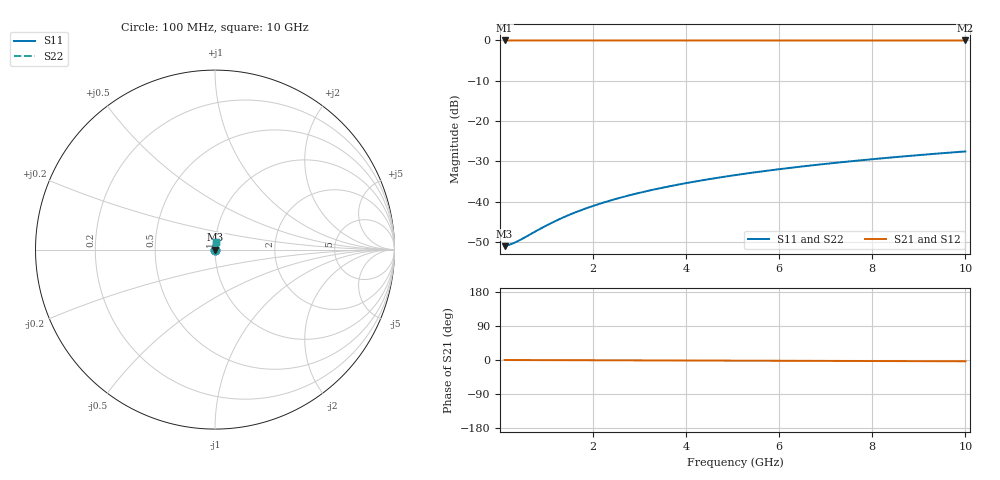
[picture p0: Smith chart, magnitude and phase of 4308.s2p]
# Hz S RI R 50.00
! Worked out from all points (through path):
!   100 points, 100 MHz to 10 GHz, reference 50 ohm
!   highest |S21| = -0.02 dB at 100 MHz (marker M1); lowest = 0.0 dB at 10 GHz (marker M2)
!   lowest |S11| = -51.1 dB at 100 MHz (marker M3), VSWR 1.01, Z = 50.3 + j0.0418 ohm
!   |S11| at or under -10 dB: start of sweep to end of sweep
!   |S22| runs from -51.1 to -27.5 dB; largest |S21 - S12| = 1e-14
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1e8  0.00277 0.000416  0.9972 -0.000586  0.9972 -0.000586  0.00277 0.000416
2e8  0.00279 0.000831  0.9972 -0.00117  0.9972 -0.00117  0.00279 0.000831
3e8  0.0028 0.00125  0.9972 -0.00176  0.9972 -0.00176  0.0028 0.00125
4e8  0.00282 0.00166  0.9972 -0.00235  0.9972 -0.00235  0.00282 0.00166
9e8  0.00287 0.00374  0.9971 -0.00528  0.9971 -0.00528  0.00287 0.00374
1.2e9  0.0029 0.00499  0.9971 -0.00704  0.9971 -0.00704  0.0029 0.00499
1.5e9  0.00293 0.00623  0.9971 -0.00879  0.9971 -0.00879  0.00293 0.00623
1.8e9  0.00297 0.00748  0.997 -0.0106  0.997 -0.0106  0.00297 0.00748
2.1e9  0.00301 0.00873  0.997 -0.0123  0.997 -0.0123  0.00301 0.00873
2.5e9  0.00307 0.0104  0.9969 -0.0147  0.9969 -0.0147  0.00307 0.0104
2.9e9  0.00313 0.012  0.9969 -0.017  0.9969 -0.017  0.00313 0.012
3.4e9  0.00322 0.0141  0.9968 -0.0199  0.9968 -0.0199  0.00322 0.0141
3.8e9  0.0033 0.0158  0.9967 -0.0223  0.9967 -0.0223  0.0033 0.0158
4.2e9  0.00339 0.0174  0.9966 -0.0246  0.9966 -0.0246  0.00339 0.0174
4.6e9  0.00348 0.0191  0.9965 -0.027  0.9965 -0.027  0.00348 0.0191
5.1e9  0.00361 0.0212  0.9963 -0.0299  0.9963 -0.0299  0.00361 0.0212
5.9e9  0.00385 0.0245  0.9961 -0.0346  0.9961 -0.0346  0.00385 0.0245
6.7e9  0.00411 0.0278  0.9958 -0.0393  0.9958 -0.0393  0.00411 0.0278
7.5e9  0.0044 0.0312  0.9955 -0.044  0.9955 -0.044  0.0044 0.0312
8.4e9  0.00477 0.0349  0.9951 -0.0493  0.9951 -0.0493  0.00477 0.0349
9.2e9  0.00513 0.0382  0.9947 -0.054  0.9947 -0.054  0.00513 0.0382
1e10  0.00553 0.0416  0.9943 -0.0587  0.9943 -0.0587  0.00553 0.0416
